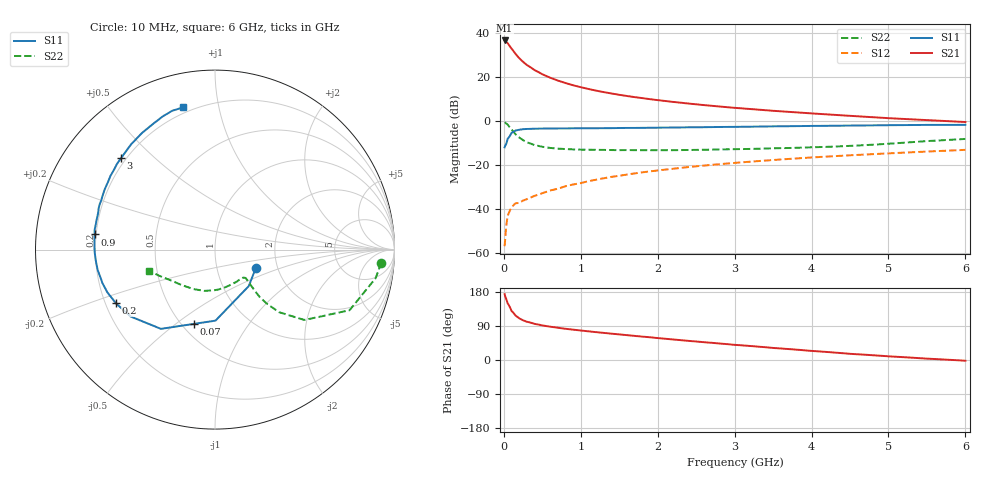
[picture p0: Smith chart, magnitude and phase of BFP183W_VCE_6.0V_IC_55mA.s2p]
! (c) 2017  Infineon Technologies AG, Munich
! Infineon Technologies  Discrete & RF Semiconductors
! BFP183W
! VCE =  6.0 V,  IC =  55 mA
! Common Emitter S-Parameters:  Jan 2017
# GHz  S  MA  R  50
!  f  S11  S21  S12  S22
! GHz  MAG  ANG  MAG  ANG  MAG  ANG  MAG  ANG
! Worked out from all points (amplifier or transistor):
!   77 points, 10 MHz to 6 GHz, reference 50 ohm
!   highest |S21| = 36.6 dB at 10 MHz (marker M1)
!   |S21| within 3 dB of that: start of sweep to 85.07 MHz
!   unconditionally stable (mu >= 1): 600.2 MHz to 3.391 GHz
!   at 130 MHz: K = 0.43, MSG = 34.9 dB, |S12| = -38.3 dB
!   at 2.2 GHz: K = 1.09, MAG = 13.4 dB, |S12| = -21.8 dB
!   at 6 GHz: K = 0.86, MSG = 6.3 dB, |S12| = -13.2 dB
!   S11 on the Smith chart (normalised r, x): 10 MHz: 1.55, -0.33; 70 MHz: 0.57, -0.58; 200 MHz: 0.24, -0.24; 900 MHz: 0.19, +0.06; 3 GHz: 0.18, +0.40; 6 GHz: 0.17, +0.79
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0.01  0.2493 -23.8  67.83 173.8  0.0014 85.7  0.9294 -4.5
0.02  0.2771 -47.3  66.29 166.8  0.0023 88.4  0.9091 -10.1
0.05  0.3958 -89.6  58.85 149.5  0.0069 64.6  0.8219 -24.3
0.07  0.4308 -106.0  52.33 142.8  0.0084 60.2  0.7418 -29.0
0.1  0.5346 -124.3  44.37 129.4  0.0107 56.0  0.6339 -38.2
0.11  0.5435 -128.1  42.15 127.5  0.0112 55.1  0.6066 -39.2
0.15  0.6002 -141.6  33.86 117.7  0.0132 52.0  0.4999 -44.3
0.2  0.6276 -151.5  26.83 110.0  0.0136 50.6  0.4176 -46.2
0.25  0.6454 -158.4  22.11 104.7  0.0153 50.0  0.3633 -46.7
0.3  0.6542 -163.4  18.7 100.9  0.0165 52.1  0.3248 -46.1
0.4  0.6636 -170.3  14.31 95.3  0.0196 56.5  0.2808 -44.8
0.5  0.6674 -175.1  11.53 91.3  0.0225 59.1  0.257 -43.7
0.7  0.6723 178.2  8.299 85.2  0.0284 63.5  0.2332 -42.8
0.9  0.6758 172.8  6.474 80.1  0.0356 65.6  0.2241 -44.2
1.1  0.6787 168.4  5.325 75.7  0.0423 67.2  0.2201 -46.2
1.5  0.6877 160.5  3.923 67.6  0.0562 68.0  0.2154 -52.7
2.1  0.7022 149.6  2.832 56.1  0.0777 66.3  0.2148 -66.4
3  0.7306 135.7  1.982 40.0  0.1103 61.9  0.2267 -91.3
3.1  0.7336 134.3  1.922 38.6  0.1139 61.3  0.2279 -94.1
4.1  0.7689 120.8  1.442 22.6  0.1502 54.7  0.2529 -121.4
5.1  0.7991 110.6  1.129 8.6  0.1854 47.6  0.3096 -147.7
6  0.8118 102.7  0.941 -1.9  0.2186 40.9  0.3875 -162.5
